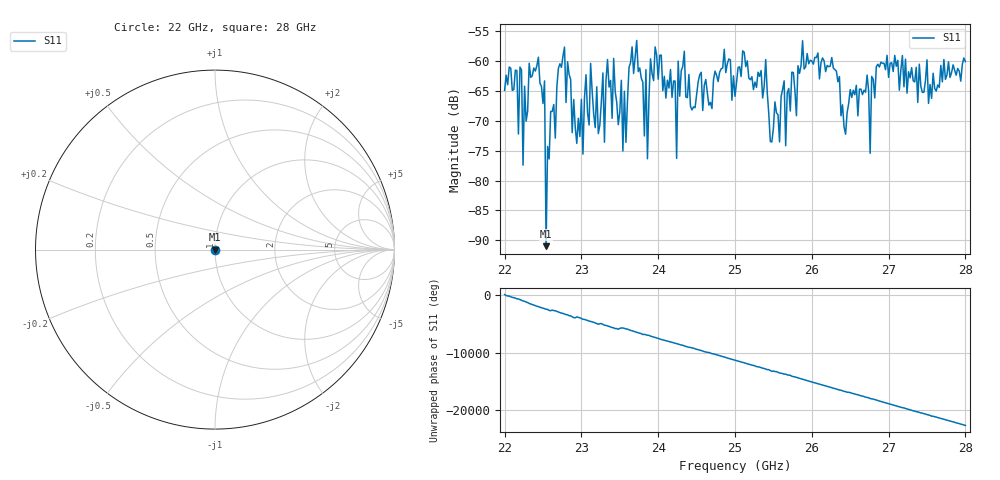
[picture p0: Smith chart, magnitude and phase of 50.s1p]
#  HZ  S  RI  R  50.00
! Rohde & Schwarz ZVA40 4Ports - Version 3.90 - 1145.1110k42 SN: 100403
! Date: 2023-10-04 11:26:15
! Measurement: S12
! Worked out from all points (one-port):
!   301 points, 22 GHz to 28 GHz, reference 50 ohm
!   lowest |S11| = -91.0 dB at 22.54 GHz (marker M1), VSWR 1.00, Z = 50 + j0.00249 ohm
!   |S11| at or under -10 dB: start of sweep to end of sweep
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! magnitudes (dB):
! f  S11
! 22 GHz  -65.0
! 22.22 GHz  -61.5
! 22.24 GHz  -77.4
! 22.26 GHz  -64.2
! 22.44 GHz  -59.4
! 22.52 GHz  -63.4
! 22.54 GHz  -91.0
! 22.76 GHz  -59.2
! 23.02 GHz  -75.6
! 23.12 GHz  -60.4
! 23.5 GHz  -68.5
! 23.72 GHz  -56.6
! 23.82 GHz  -72.6
! 23.84 GHz  -61.5
! 23.86 GHz  -76.4
! 23.96 GHz  -57.7
! 24.22 GHz  -63.4
! 24.24 GHz  -76.3
! 24.26 GHz  -60.1
! 25 GHz  -65.9
! 25.66 GHz  -74.2
! 25.76 GHz  -62.0
! 26.5 GHz  -64.8
! 26.72 GHz  -62.4
! 26.76 GHz  -75.5
! 26.78 GHz  -62.6
! 27.26 GHz  -61.8
! 28 GHz  -60.1
